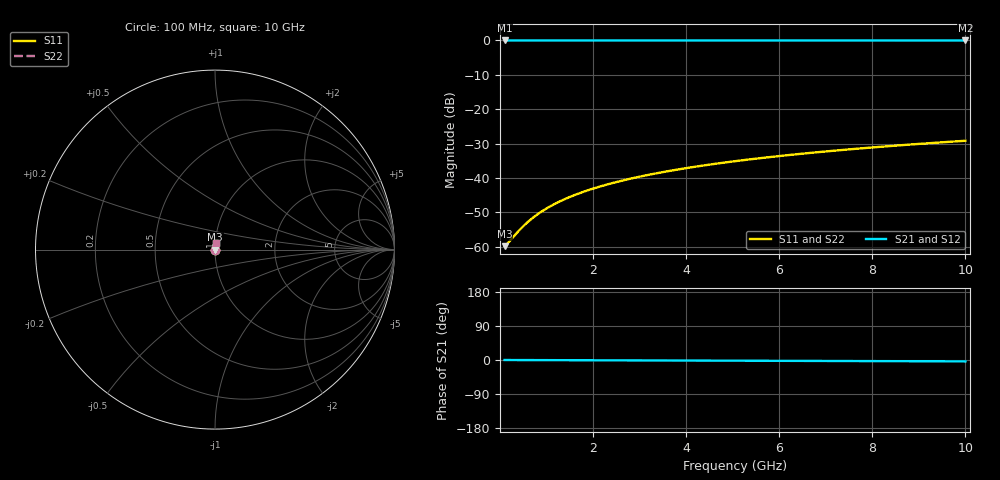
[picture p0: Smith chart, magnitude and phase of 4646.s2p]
# Hz S RI R 50.00
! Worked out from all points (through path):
!   100 points, 100 MHz to 10 GHz, reference 50 ohm
!   highest |S21| = -0.01 dB at 100 MHz (marker M1); lowest = 0.0 dB at 10 GHz (marker M2)
!   lowest |S11| = -59.8 dB at 100 MHz (marker M3), VSWR 1.00, Z = 50.1 + j0.0347 ohm
!   |S11| at or under -10 dB: start of sweep to end of sweep
!   |S22| runs from -59.8 to -29.2 dB; largest |S21 - S12| = 0
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1e8  0.000961 0.000346  0.999 -0.000634  0.999 -0.000634  0.000961 0.000346
2e8  0.000968 0.000692  0.999 -0.00127  0.999 -0.00127  0.000968 0.000692
4e8  0.000979 0.00138  0.999 -0.00254  0.999 -0.00254  0.000979 0.00138
5e8  0.000984 0.00173  0.999 -0.00317  0.999 -0.00317  0.000984 0.00173
6e8  0.000989 0.00208  0.999 -0.00381  0.999 -0.00381  0.000989 0.00208
7e8  0.000994 0.00242  0.999 -0.00444  0.999 -0.00444  0.000994 0.00242
8e8  0.001 0.00277  0.999 -0.00507  0.999 -0.00507  0.001 0.00277
1e9  0.00101 0.00346  0.999 -0.00634  0.999 -0.00634  0.00101 0.00346
1.2e9  0.00103 0.00415  0.999 -0.00761  0.999 -0.00761  0.00103 0.00415
1.5e9  0.00105 0.00519  0.9989 -0.00952  0.9989 -0.00952  0.00105 0.00519
1.8e9  0.00107 0.00623  0.9989 -0.0114  0.9989 -0.0114  0.00107 0.00623
2.1e9  0.0011 0.00727  0.9989 -0.0133  0.9989 -0.0133  0.0011 0.00727
2.5e9  0.00115 0.00865  0.9988 -0.0159  0.9988 -0.0159  0.00115 0.00865
2.9e9  0.0012 0.01  0.9988 -0.0184  0.9988 -0.0184  0.0012 0.01
3.4e9  0.00127 0.0118  0.9987 -0.0216  0.9987 -0.0216  0.00127 0.0118
4.2e9  0.00141 0.0145  0.9985 -0.0267  0.9985 -0.0267  0.00141 0.0145
5.1e9  0.00161 0.0177  0.9983 -0.0324  0.9983 -0.0324  0.00161 0.0177
5.9e9  0.00181 0.0204  0.998 -0.0375  0.998 -0.0375  0.00181 0.0204
6.7e9  0.00204 0.0232  0.9978 -0.0426  0.9978 -0.0426  0.00204 0.0232
7.5e9  0.00229 0.026  0.9974 -0.0477  0.9974 -0.0477  0.00229 0.026
8.4e9  0.00262 0.0291  0.9971 -0.0534  0.9971 -0.0534  0.00262 0.0291
1e10  0.00328 0.0346  0.9963 -0.0636  0.9963 -0.0636  0.00328 0.0346
